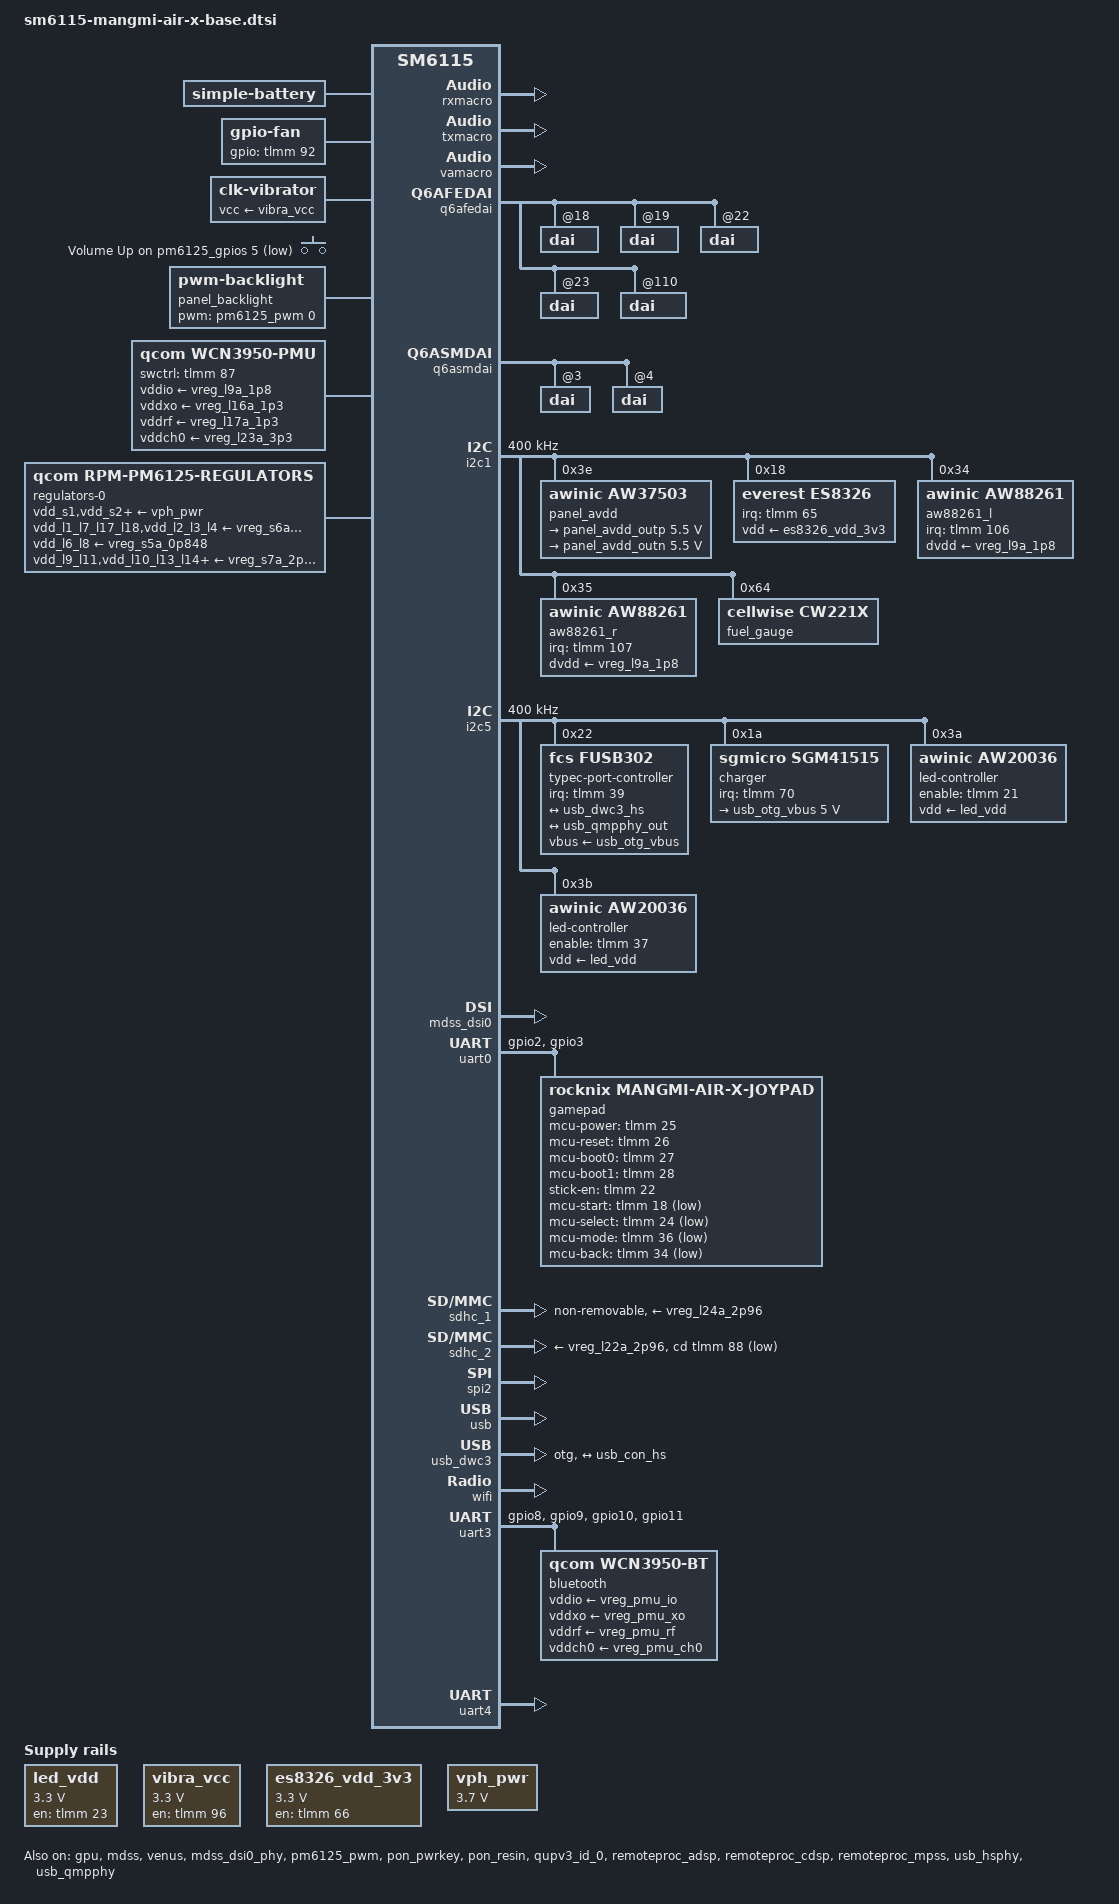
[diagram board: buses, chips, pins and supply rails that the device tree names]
// SPDX-License-Identifier: BSD-3-Clause
/*
 * Copyright (c) 2025, ROCKNIX
 */

/dts-v1/;

#include <dt-bindings/leds/common.h>
#include <dt-bindings/sound/qcom,q6afe.h>
#include <dt-bindings/sound/qcom,q6asm.h>
#include <dt-bindings/usb/pd.h>
#include "sm6115.dtsi"
#include "pm6125.dtsi"

/ {
	chassis-type = "handset";

	aliases {
		mmc0 = &sdhc_2;
		serial0 = &uart4;
		hsuart0 = &uart3;
		hsuart1 = &uart0;
	};

	chosen {
		stdout-path = "serial0:115200n8";
	};

	battery: battery {
		compatible = "simple-battery";
		charge-full-design-microamp-hours = <5000000>;
		voltage-min-design-microvolt = <3400000>;
		voltage-max-design-microvolt = <4350000>;
		constant-charge-current-max-microamp = <3000000>;
		constant-charge-voltage-max-microvolt = <4350000>;
		precharge-current-microamp = <200000>;
		charge-term-current-microamp = <200000>;
	};

	fan: gpio-fan {
		compatible = "gpio-fan";
		gpio-fan,speed-map = <0 0>, <8600 1>;
		gpios = <&tlmm 92 GPIO_ACTIVE_HIGH>;
		#cooling-cells = <2>;
	};

	vibrator {
		compatible = "clk-vibrator";
		clocks = <&gcc GCC_GP1_CLK>;
		vcc-supply = <&vibra_vcc>;
		pinctrl-names = "default";
		pinctrl-0 = <&gpio_clk_pins>;
		vibration-frequency-hz = <10000>;
	};

	led_vdd: regulator-led-vdd {
		compatible = "regulator-fixed";
		regulator-name = "led-vdd";
		regulator-min-microvolt = <3300000>;
		regulator-max-microvolt = <3300000>;
		gpio = <&tlmm 23 GPIO_ACTIVE_HIGH>;
		enable-active-high;
		pinctrl-names = "default";
		pinctrl-0 = <&led_en_default>;
	};

	vibra_vcc: regulator-vibra-vcc {
		compatible = "regulator-fixed";
		regulator-name = "vibra_vcc";
		regulator-min-microvolt = <3300000>;
		regulator-max-microvolt = <3300000>;
		gpio = <&tlmm 96 GPIO_ACTIVE_HIGH>;
		enable-active-high;
		pinctrl-names = "default";
		pinctrl-0 = <&vibra_vcc_default>;
	};

	es8326_vdd_3v3: regulator-es8326-vdd {
		compatible = "regulator-fixed";
		regulator-name = "es8326-vdd-3v3";
		regulator-min-microvolt = <3300000>;
		regulator-max-microvolt = <3300000>;
		gpio = <&tlmm 66 GPIO_ACTIVE_HIGH>;
		enable-active-high;
		regulator-always-on;
		regulator-boot-on;
		pinctrl-names = "default";
		pinctrl-0 = <&es8326_vdd_default>;
	};

	gpio-keys {
		compatible = "gpio-keys";

		pinctrl-names = "default";
		pinctrl-0 = <&vol_up_n>;

		key-volume-up {
			label = "Volume Up";
			linux,code = <KEY_VOLUMEUP>;
			gpios = <&pm6125_gpios 5 GPIO_ACTIVE_LOW>;
			debounce-interval = <15>;
			linux,can-disable;
			wakeup-source;
		};
	};

	vph_pwr: regulator-vph-pwr {
		compatible = "regulator-fixed";
		regulator-name = "vph_pwr";
		regulator-min-microvolt = <3700000>;
		regulator-max-microvolt = <3700000>;

		regulator-always-on;
		regulator-boot-on;
	};

	panel_backlight: backlight {
		compatible = "pwm-backlight";
		pwms = <&pm6125_pwm 0 40000>;

		brightness-levels = <0 204>;
		num-interpolated-steps = <204>;
		max-brightness = <204>;
		default-brightness-level = <204>;
	};

	multi-led-l1 { compatible = "leds-group-multicolor"; color = <LED_COLOR_ID_RGB>; function = "l1"; leds = <&left_red_1>, <&left_green_1>, <&left_blue_1>; };
	multi-led-l2 { compatible = "leds-group-multicolor"; color = <LED_COLOR_ID_RGB>; function = "l2"; leds = <&left_red_2>, <&left_green_2>, <&left_blue_2>; };
	multi-led-l3 { compatible = "leds-group-multicolor"; color = <LED_COLOR_ID_RGB>; function = "l3"; leds = <&left_red_3>, <&left_green_3>, <&left_blue_3>; };
	multi-led-l4 { compatible = "leds-group-multicolor"; color = <LED_COLOR_ID_RGB>; function = "l4"; leds = <&left_red_4>, <&left_green_4>, <&left_blue_4>; };
	multi-led-l5 { compatible = "leds-group-multicolor"; color = <LED_COLOR_ID_RGB>; function = "l5"; leds = <&left_red_5>, <&left_green_5>, <&left_blue_5>; };
	multi-led-l6 { compatible = "leds-group-multicolor"; color = <LED_COLOR_ID_RGB>; function = "l6"; leds = <&left_red_6>, <&left_green_6>, <&left_blue_6>; };
	multi-led-l7 { compatible = "leds-group-multicolor"; color = <LED_COLOR_ID_RGB>; function = "l7"; leds = <&left_red_7>, <&left_green_7>, <&left_blue_7>; };
	multi-led-l8 { compatible = "leds-group-multicolor"; color = <LED_COLOR_ID_RGB>; function = "l8"; leds = <&left_red_8>, <&left_green_8>, <&left_blue_8>; };
	multi-led-l9 { compatible = "leds-group-multicolor"; color = <LED_COLOR_ID_RGB>; function = "l9"; leds = <&left_red_9>, <&left_green_9>, <&left_blue_9>; };

	multi-led-r1 { compatible = "leds-group-multicolor"; color = <LED_COLOR_ID_RGB>; function = "r1"; leds = <&right_red_1>, <&right_green_1>, <&right_blue_1>; };
	multi-led-r2 { compatible = "leds-group-multicolor"; color = <LED_COLOR_ID_RGB>; function = "r2"; leds = <&right_red_2>, <&right_green_2>, <&right_blue_2>; };
	multi-led-r3 { compatible = "leds-group-multicolor"; color = <LED_COLOR_ID_RGB>; function = "r3"; leds = <&right_red_3>, <&right_green_3>, <&right_blue_3>; };
	multi-led-r4 { compatible = "leds-group-multicolor"; color = <LED_COLOR_ID_RGB>; function = "r4"; leds = <&right_red_4>, <&right_green_4>, <&right_blue_4>; };
	multi-led-r5 { compatible = "leds-group-multicolor"; color = <LED_COLOR_ID_RGB>; function = "r5"; leds = <&right_red_5>, <&right_green_5>, <&right_blue_5>; };
	multi-led-r6 { compatible = "leds-group-multicolor"; color = <LED_COLOR_ID_RGB>; function = "r6"; leds = <&right_red_6>, <&right_green_6>, <&right_blue_6>; };
	multi-led-r7 { compatible = "leds-group-multicolor"; color = <LED_COLOR_ID_RGB>; function = "r7"; leds = <&right_red_7>, <&right_green_7>, <&right_blue_7>; };
	multi-led-r8 { compatible = "leds-group-multicolor"; color = <LED_COLOR_ID_RGB>; function = "r8"; leds = <&right_red_8>, <&right_green_8>, <&right_blue_8>; };
	multi-led-r9 { compatible = "leds-group-multicolor"; color = <LED_COLOR_ID_RGB>; function = "r9"; leds = <&right_red_9>, <&right_green_9>, <&right_blue_9>; };

	wcn3950-pmu {
		compatible = "qcom,wcn3950-pmu";

		pinctrl-0 = <&sw_ctrl_default>;
		pinctrl-names = "default";

		vddio-supply = <&vreg_l9a_1p8>;
		vddxo-supply = <&vreg_l16a_1p3>;
		vddrf-supply = <&vreg_l17a_1p3>;
		vddch0-supply = <&vreg_l23a_3p3>;

		swctrl-gpios = <&tlmm 87 GPIO_ACTIVE_HIGH>;

		regulators {
			vreg_pmu_io: ldo0 {
				regulator-name = "vreg_pmu_io";
			};

			vreg_pmu_xo: ldo1 {
				regulator-name = "vreg_pmu_xo";
			};

			vreg_pmu_rf: ldo2 {
				regulator-name = "vreg_pmu_rf";
			};

			vreg_pmu_ch0: ldo3 {
				regulator-name = "vreg_pmu_ch0";
			};
		};
	};

	sound {
		compatible = "qcom,qrb4210-rb2-sndcard";
		model = "MangmiAirX";

		widgets = "Speaker", "SPK_L Speaker",
			  "Speaker", "SPK_R Speaker";

		pin-switches = "SPK_L Speaker", "SPK_R Speaker";

		audio-routing = "SPK_L Speaker", "SPK_L DAC Output",
				"SPK_R Speaker", "SPK_R DAC Output",
				"Headphone Jack", "HPOL",
				"Headphone Jack", "HPOR";

		pinctrl-names = "default";
		pinctrl-0 = <&lpi_qua_mi2s_active>, <&lpi_i2s2_active>,
			    <&lpi_dmic23_active>;

		mm1-dai-link {
			link-name = "MultiMedia1";
			cpu {
				sound-dai = <&q6asmdai MSM_FRONTEND_DAI_MULTIMEDIA1>;
			};
		};

		mm2-dai-link {
			link-name = "MultiMedia2";
			cpu {
				sound-dai = <&q6asmdai MSM_FRONTEND_DAI_MULTIMEDIA2>;
			};
		};

		mm3-dai-link {
			link-name = "MultiMedia3";
			cpu {
				sound-dai = <&q6asmdai MSM_FRONTEND_DAI_MULTIMEDIA3>;
			};
		};

		sec-mi2s-playback-dai-link {
			link-name = "Secondary MI2S Playback";
			cpu {
				sound-dai = <&q6afedai SECONDARY_MI2S_RX>;
			};
			platform {
				sound-dai = <&q6routing>;
			};
			codec {
				sound-dai = <&aw88261_l>, <&aw88261_r>;
			};
		};

		quat-mi2s-playback-dai-link {
			link-name = "Quaternary MI2S Playback";
			cpu {
				sound-dai = <&q6afedai QUATERNARY_MI2S_RX>;
			};
			platform {
				sound-dai = <&q6routing>;
			};
			codec {
				sound-dai = <&es8326>;
			};
		};

		quat-mi2s-capture-dai-link {
			link-name = "Quaternary MI2S Capture";
			cpu {
				sound-dai = <&q6afedai QUATERNARY_MI2S_TX>;
			};
			platform {
				sound-dai = <&q6routing>;
			};
			codec {
				sound-dai = <&es8326>;
			};
		};

		mm4-capture-dai-link {
			link-name = "MultiMedia4 Capture";
			cpu {
				sound-dai = <&q6asmdai MSM_FRONTEND_DAI_MULTIMEDIA4>;
			};
		};

		mm5-capture-dai-link {
			link-name = "MultiMedia5 Capture";
			cpu {
				sound-dai = <&q6asmdai MSM_FRONTEND_DAI_MULTIMEDIA5>;
			};
		};

		va-codec-dma-dai-link {
			link-name = "VA_CODEC_DMA_TX_0";
			cpu {
				sound-dai = <&q6afedai VA_CODEC_DMA_TX_0>;
			};
			platform {
				sound-dai = <&q6routing>;
			};
			codec {
				sound-dai = <&vamacro 0>;
			};
		};
	};
};

&soc {
	rxmacro: codec@a600000 {
		compatible = "qcom,sm6115-lpass-rx-macro";
		reg = <0x0 0x0a600000 0x0 0x1000>;

		clocks = <&q6afecc LPASS_CLK_ID_RX_CORE_MCLK     LPASS_CLK_ATTRIBUTE_COUPLE_NO>,
			 <&q6afecc LPASS_CLK_ID_RX_CORE_NPL_MCLK LPASS_CLK_ATTRIBUTE_COUPLE_NO>,
			 <&q6afecc LPASS_HW_DCODEC_VOTE          LPASS_CLK_ATTRIBUTE_COUPLE_NO>,
			 <&vamacro>;
		clock-names = "mclk", "npl", "dcodec", "fsgen";

		assigned-clocks = <&q6afecc LPASS_CLK_ID_RX_CORE_MCLK     LPASS_CLK_ATTRIBUTE_COUPLE_NO>,
				  <&q6afecc LPASS_CLK_ID_RX_CORE_NPL_MCLK LPASS_CLK_ATTRIBUTE_COUPLE_NO>;
		assigned-clock-rates = <22579200>, <22579200>;

		#clock-cells = <0>;
		clock-output-names = "mclk";
		#sound-dai-cells = <1>;
	};

	txmacro: codec@a620000 {
		compatible = "qcom,sm6115-lpass-tx-macro";
		reg = <0x0 0x0a620000 0x0 0x1000>;

		clocks = <&q6afecc LPASS_CLK_ID_TX_CORE_MCLK     LPASS_CLK_ATTRIBUTE_COUPLE_NO>,
			 <&q6afecc LPASS_CLK_ID_TX_CORE_NPL_MCLK LPASS_CLK_ATTRIBUTE_COUPLE_NO>,
			 <&q6afecc LPASS_HW_DCODEC_VOTE          LPASS_CLK_ATTRIBUTE_COUPLE_NO>,
			 <&vamacro>;
		clock-names = "mclk", "npl", "dcodec", "fsgen";

		assigned-clocks = <&q6afecc LPASS_CLK_ID_TX_CORE_MCLK     LPASS_CLK_ATTRIBUTE_COUPLE_NO>,
				  <&q6afecc LPASS_CLK_ID_TX_CORE_NPL_MCLK LPASS_CLK_ATTRIBUTE_COUPLE_NO>;
		assigned-clock-rates = <19200000>, <19200000>;

		qcom,dmic-sample-rate = <2400000>;

		#clock-cells = <0>;
		clock-output-names = "mclk";
		#sound-dai-cells = <1>;
	};

	lpass_audiocc: clock-controller@a6a9000 {
		compatible = "qcom,sm6115-lpassaudiocc";
		reg = <0x0 0x0a6a9000 0x0 0x1000>;
		#reset-cells = <1>;
	};

	vamacro: codec@a730000 {
		compatible = "qcom,sm6115-lpass-va-macro";
		reg = <0x0 0x0a730000 0x0 0x1000>;

		clocks = <&q6afecc LPASS_CLK_ID_TX_CORE_MCLK     LPASS_CLK_ATTRIBUTE_COUPLE_NO>,
			 <&q6afecc LPASS_HW_DCODEC_VOTE          LPASS_CLK_ATTRIBUTE_COUPLE_NO>,
			 <&q6afecc LPASS_CLK_ID_TX_CORE_NPL_MCLK LPASS_CLK_ATTRIBUTE_COUPLE_NO>;
		clock-names = "mclk", "dcodec", "npl";

		assigned-clocks = <&q6afecc LPASS_CLK_ID_TX_CORE_MCLK     LPASS_CLK_ATTRIBUTE_COUPLE_NO>,
				  <&q6afecc LPASS_CLK_ID_TX_CORE_NPL_MCLK LPASS_CLK_ATTRIBUTE_COUPLE_NO>;
		assigned-clock-rates = <19200000>, <19200000>;

		qcom,dmic-sample-rate = <2400000>;

		#clock-cells = <0>;
		clock-output-names = "fsgen";
		#sound-dai-cells = <1>;
	};

	lpasscc: clock-controller@a7e0000 {
		compatible = "qcom,sm6115-lpasscc";
		reg = <0x0 0x0a7e0000 0x0 0x12000>;
		#reset-cells = <1>;
	};
};

&q6afedai {
	dai@18 {
		reg = <SECONDARY_MI2S_RX>;
		qcom,sd-lines = <0>;
	};

	dai@19 {
		reg = <SECONDARY_MI2S_TX>;
		qcom,sd-lines = <1>;
	};

	dai@22 {
		reg = <QUATERNARY_MI2S_RX>;
		qcom,sd-lines = <0>;
	};

	dai@23 {
		reg = <QUATERNARY_MI2S_TX>;
		qcom,sd-lines = <1>;
	};

	dai@110 {
		reg = <VA_CODEC_DMA_TX_0>;
	};
};

&q6asmdai {
	dai@3 {
		reg = <MSM_FRONTEND_DAI_MULTIMEDIA4>;
	};

	dai@4 {
		reg = <MSM_FRONTEND_DAI_MULTIMEDIA5>;
	};
};

&i2c1 {
	status = "okay";
	clock-frequency = <400000>;

	panel_avdd: regulator@3e {
		reg = <0x3e>;
		compatible = "awinic,aw37503"; /* SGM3804 is a clone */
		status = "okay";

		panel_avdd_outp: outp {
			regulator-name = "panel-avdd-outp";
			regulator-min-microvolt = <5500000>;
			regulator-max-microvolt = <5500000>;
			regulator-active-discharge = <1>;
			enable-gpios = <&tlmm 44 GPIO_ACTIVE_HIGH>;
			vin-supply = <&vph_pwr>;
		};

		panel_avdd_outn: outn {
			regulator-name = "panel-avdd-outn";
			regulator-min-microvolt = <5500000>;
			regulator-max-microvolt = <5500000>;
			regulator-active-discharge = <1>;
			enable-gpios = <&tlmm 45 GPIO_ACTIVE_HIGH>;
			vin-supply = <&vph_pwr>;
		};
	};

	es8326: codec@18 {
		compatible = "everest,es8326";
		reg = <0x18>;
		clocks = <&q6afecc LPASS_CLK_ID_MCLK_1 LPASS_CLK_ATTRIBUTE_COUPLE_NO>;
		clock-names = "mclk";
		assigned-clocks = <&q6afecc LPASS_CLK_ID_MCLK_1 LPASS_CLK_ATTRIBUTE_COUPLE_NO>;
		assigned-clock-rates = <12288000>;
		interrupts-extended = <&tlmm 65 IRQ_TYPE_EDGE_FALLING>;
		vdd-supply = <&es8326_vdd_3v3>;
		everest,jack-detect-inverted;

		pinctrl-names = "default";
		pinctrl-0 = <&es8326_irq_default &lpi_ext_mclk0_b_active>;
		#sound-dai-cells = <0>;
		status = "okay";
	};

	aw88261_l: audio-codec@34 {
		compatible = "awinic,aw88261";
		reg = <0x34>;

		dvdd-supply = <&vreg_l9a_1p8>;

		interrupt-parent = <&tlmm>;
		interrupts = <106 IRQ_TYPE_LEVEL_LOW>;

		pinctrl-names = "default";
		pinctrl-0 = <&aw88261_left_irq_default>;

		awinic,audio-channel = <0>;
		awinic,sync-flag;
		sound-name-prefix = "SPK_L";
		firmware-name = "aw88261_acf.bin";

		#sound-dai-cells = <0>;
	};

	aw88261_r: audio-codec@35 {
		compatible = "awinic,aw88261";
		reg = <0x35>;

		dvdd-supply = <&vreg_l9a_1p8>;

		interrupt-parent = <&tlmm>;
		interrupts = <107 IRQ_TYPE_LEVEL_LOW>;

		pinctrl-names = "default";
		pinctrl-0 = <&aw88261_right_irq_default>;

		awinic,audio-channel = <1>;
		awinic,sync-flag;
		sound-name-prefix = "SPK_R";
		firmware-name = "aw88261_acf.bin";

		#sound-dai-cells = <0>;
	};

	fuel_gauge: fuel-gauge@64 {
		compatible = "cellwise,cw221x";
		reg = <0x64>;
		monitored-battery = <&battery>;
		#thermal-sensor-cells = <0>;
		cellwise,sense-resistor-micro-ohms = <10000>;
		cellwise,monitor-interval-ms = <5000>;
		cellwise,battery-profile = /bits/ 8 <
			0x5a 0x00 0x00 0x00 0x00 0x00 0x00 0x00
			0xad 0xbd 0xb3 0xba 0xa6 0xa2 0xd1 0xb3
			0x9e 0xff 0xe5 0xb7 0x8b 0x75 0x66 0x5e
			0x5c 0x5c 0x5c 0xa8 0x7c 0xdc 0x03 0xcf
			0xc8 0xcf 0xd0 0xd1 0xce 0xcd 0xca 0xcc
			0xc7 0xca 0xc1 0xa5 0x95 0x8a 0x81 0x77
			0x6b 0x68 0x7d 0x90 0x8e 0x84 0x8a 0x63
			0x20 0x00 0xab 0x10 0x00 0xb0 0x4d 0x00
			0x00 0x00 0x64 0x1f 0xd3 0x37 0x00 0x00
			0x00 0x00 0x00 0x00 0x00 0x00 0x00 0x18>;
	};
};

&i2c5 {
	status = "okay";
	clock-frequency = <400000>;

	typec-port-controller@22 {
		compatible = "fcs,fusb302";
		reg = <0x22>;

		interrupts-extended = <&tlmm 39 IRQ_TYPE_LEVEL_LOW>;
		vbus-supply = <&usb_otg_vbus>;

		pinctrl-names = "default";
		pinctrl-0 = <&tcpc_irq_default>;

		connector {
			compatible = "usb-c-connector";
			label = "USB-C";
			pd-revision = /bits/ 8 <0x3 0x0 0x1 0x20>;
			self-powered;
			power-role = "dual";
			data-role = "dual";
			try-power-role = "sink";
			op-sink-microwatt = <10000000>;
			sink-pdos = <PDO_FIXED(5000, 3000, PDO_FIXED_DUAL_ROLE |
						      PDO_FIXED_USB_COMM |
						      PDO_FIXED_DATA_SWAP)
				PDO_PPS_APDO(4000, 11000, 3000)>;

			source-pdos = <PDO_FIXED(5000, 1200,
						 PDO_FIXED_DUAL_ROLE |
						 PDO_FIXED_DATA_SWAP |
						 PDO_FIXED_USB_COMM)>;

			pd-source-inputs = <0x04>;
			pd-battery-info = <0x01>;

			ports {
				#address-cells = <1>;
				#size-cells = <0>;

				port@0 {
					reg = <0>;
					usb_con_hs: endpoint {
						remote-endpoint = <&usb_dwc3_hs>;
					};
				};

				port@1 {
					reg = <1>;
					usb_con_ss: endpoint {
						remote-endpoint = <&usb_qmpphy_out>;
					};
				};
			};
		};
	};

	charger@1a {
		compatible = "sgmicro,sgm41515"; /* BQ25601D clone */
		reg = <0x1a>;
		monitored-battery = <&battery>;
		interrupts-extended = <&tlmm 70 IRQ_TYPE_EDGE_FALLING>;
		pinctrl-names = "default";
		pinctrl-0 = <&chg_int_default>, <&chg_en_default>;
		wakeup-source;

		input-voltage-limit-microvolt = <4500000>;

		status = "okay";

		usb_otg_vbus: usb-otg-vbus {
			regulator-name = "usb-otg-vbus";
			regulator-min-microvolt = <5000000>;
			regulator-max-microvolt = <5000000>;
		};
	};

	led-controller@3a {
		compatible = "awinic,aw20036";
		vdd-supply = <&led_vdd>;
		reg = <0x3a>;
		enable-gpios = <&tlmm 21 GPIO_ACTIVE_HIGH>;
		#address-cells = <1>;
		#size-cells = <0>;
		pinctrl-names = "default", "sleep";
		pinctrl-0 = <&rgbl_activate>;
		pinctrl-1 = <&rgbl_suspend>;
		status = "okay";

		left_blue_1: led@0 { reg = <0x0>; color = <LED_COLOR_ID_BLUE>; label = "left_blue_1"; led-max-microamp = <3400>; };
		left_green_1: led@1 { reg = <0x1>; color = <LED_COLOR_ID_GREEN>; label = "left_green_1"; led-max-microamp = <3400>; };
		left_red_1: led@2 { reg = <0x2>; color = <LED_COLOR_ID_RED>; label = "left_red_1"; led-max-microamp = <3400>; };

		left_blue_2: led@3 { reg = <0x3>; color = <LED_COLOR_ID_BLUE>; label = "left_blue_2"; led-max-microamp = <3400>; };
		left_green_2: led@4 { reg = <0x4>; color = <LED_COLOR_ID_GREEN>; label = "left_green_2"; led-max-microamp = <3400>; };
		left_red_2: led@5 { reg = <0x5>; color = <LED_COLOR_ID_RED>; label = "left_red_2"; led-max-microamp = <3400>; };

		left_blue_3: led@6 { reg = <0x6>; color = <LED_COLOR_ID_BLUE>; label = "left_blue_3"; led-max-microamp = <3400>; };
		left_green_3: led@7 { reg = <0x7>; color = <LED_COLOR_ID_GREEN>; label = "left_green_3"; led-max-microamp = <3400>; };
		left_red_3: led@8 { reg = <0x8>; color = <LED_COLOR_ID_RED>; label = "left_red_3"; led-max-microamp = <3400>; };

		left_blue_4: led@9 { reg = <0x9>; color = <LED_COLOR_ID_BLUE>; label = "left_blue_4"; led-max-microamp = <3400>; };
		left_green_4: led@a { reg = <0xa>; color = <LED_COLOR_ID_GREEN>; label = "left_green_4"; led-max-microamp = <3400>; };
		left_red_4: led@b { reg = <0xb>; color = <LED_COLOR_ID_RED>; label = "left_red_4"; led-max-microamp = <3400>; };

		left_blue_5: led@c { reg = <0xc>; color = <LED_COLOR_ID_BLUE>; label = "left_blue_5"; led-max-microamp = <3400>; };
		left_green_5: led@d { reg = <0xd>; color = <LED_COLOR_ID_GREEN>; label = "left_green_5"; led-max-microamp = <3400>; };
		left_red_5: led@e { reg = <0xe>; color = <LED_COLOR_ID_RED>; label = "left_red_5"; led-max-microamp = <3400>; };

		left_blue_6: led@f { reg = <0xf>; color = <LED_COLOR_ID_BLUE>; label = "left_blue_6"; led-max-microamp = <3400>; };
		left_green_6: led@10 { reg = <0x10>; color = <LED_COLOR_ID_GREEN>; label = "left_green_6"; led-max-microamp = <3400>; };
		left_red_6: led@11 { reg = <0x11>; color = <LED_COLOR_ID_RED>; label = "left_red_6"; led-max-microamp = <3400>; };

		left_blue_7: led@12 { reg = <0x12>; color = <LED_COLOR_ID_BLUE>; label = "left_blue_7"; led-max-microamp = <3400>; };
		left_green_7: led@13 { reg = <0x13>; color = <LED_COLOR_ID_GREEN>; label = "left_green_7"; led-max-microamp = <3400>; };
		left_red_7: led@14 { reg = <0x14>; color = <LED_COLOR_ID_RED>; label = "left_red_7"; led-max-microamp = <3400>; };

		left_blue_8: led@15 { reg = <0x15>; color = <LED_COLOR_ID_BLUE>; label = "left_blue_8"; led-max-microamp = <3400>; };
		left_green_8: led@16 { reg = <0x16>; color = <LED_COLOR_ID_GREEN>; label = "left_green_8"; led-max-microamp = <3400>; };
		left_red_8: led@17 { reg = <0x17>; color = <LED_COLOR_ID_RED>; label = "left_red_8"; led-max-microamp = <3400>; };

		left_blue_9: led@18 { reg = <0x18>; color = <LED_COLOR_ID_BLUE>; label = "left_blue_9"; led-max-microamp = <3400>; };
		left_green_9: led@19 { reg = <0x19>; color = <LED_COLOR_ID_GREEN>; label = "left_green_9"; led-max-microamp = <3400>; };
		left_red_9: led@1a { reg = <0x1a>; color = <LED_COLOR_ID_RED>; label = "left_red_9"; led-max-microamp = <3400>; };
	};

	led-controller@3b {
		compatible = "awinic,aw20036";
		vdd-supply = <&led_vdd>;
		reg = <0x3b>;
		enable-gpios = <&tlmm 37 GPIO_ACTIVE_HIGH>;
		#address-cells = <1>;
		#size-cells = <0>;
		pinctrl-names = "default", "sleep";
		pinctrl-0 = <&rgbr_activate>;
		pinctrl-1 = <&rgbr_suspend>;
		status = "okay";

		right_blue_1: led@0 { reg = <0x0>; color = <LED_COLOR_ID_BLUE>; label = "right_blue_1"; led-max-microamp = <3400>; };
		right_green_1: led@1 { reg = <0x1>; color = <LED_COLOR_ID_GREEN>; label = "right_green_1"; led-max-microamp = <3400>; };
		right_red_1: led@2 { reg = <0x2>; color = <LED_COLOR_ID_RED>; label = "right_red_1"; led-max-microamp = <3400>; };

		right_blue_2: led@3 { reg = <0x3>; color = <LED_COLOR_ID_BLUE>; label = "right_blue_2"; led-max-microamp = <3400>; };
		right_green_2: led@4 { reg = <0x4>; color = <LED_COLOR_ID_GREEN>; label = "right_green_2"; led-max-microamp = <3400>; };
		right_red_2: led@5 { reg = <0x5>; color = <LED_COLOR_ID_RED>; label = "right_red_2"; led-max-microamp = <3400>; };

		right_blue_3: led@6 { reg = <0x6>; color = <LED_COLOR_ID_BLUE>; label = "right_blue_3"; led-max-microamp = <3400>; };
		right_green_3: led@7 { reg = <0x7>; color = <LED_COLOR_ID_GREEN>; label = "right_green_3"; led-max-microamp = <3400>; };
		right_red_3: led@8 { reg = <0x8>; color = <LED_COLOR_ID_RED>; label = "right_red_3"; led-max-microamp = <3400>; };

		right_blue_4: led@9 { reg = <0x9>; color = <LED_COLOR_ID_BLUE>; label = "right_blue_4"; led-max-microamp = <3400>; };
		right_green_4: led@a { reg = <0xa>; color = <LED_COLOR_ID_GREEN>; label = "right_green_4"; led-max-microamp = <3400>; };
		right_red_4: led@b { reg = <0xb>; color = <LED_COLOR_ID_RED>; label = "right_red_4"; led-max-microamp = <3400>; };

		right_blue_5: led@c { reg = <0xc>; color = <LED_COLOR_ID_BLUE>; label = "right_blue_5"; led-max-microamp = <3400>; };
		right_green_5: led@d { reg = <0xd>; color = <LED_COLOR_ID_GREEN>; label = "right_green_5"; led-max-microamp = <3400>; };
		right_red_5: led@e { reg = <0xe>; color = <LED_COLOR_ID_RED>; label = "right_red_5"; led-max-microamp = <3400>; };

		right_blue_6: led@f { reg = <0xf>; color = <LED_COLOR_ID_BLUE>; label = "right_blue_6"; led-max-microamp = <3400>; };
		right_green_6: led@10 { reg = <0x10>; color = <LED_COLOR_ID_GREEN>; label = "right_green_6"; led-max-microamp = <3400>; };
		right_red_6: led@11 { reg = <0x11>; color = <LED_COLOR_ID_RED>; label = "right_red_6"; led-max-microamp = <3400>; };

		right_blue_7: led@12 { reg = <0x12>; color = <LED_COLOR_ID_BLUE>; label = "right_blue_7"; led-max-microamp = <3400>; };
		right_green_7: led@13 { reg = <0x13>; color = <LED_COLOR_ID_GREEN>; label = "right_green_7"; led-max-microamp = <3400>; };
		right_red_7: led@14 { reg = <0x14>; color = <LED_COLOR_ID_RED>; label = "right_red_7"; led-max-microamp = <3400>; };

		right_blue_8: led@15 { reg = <0x15>; color = <LED_COLOR_ID_BLUE>; label = "right_blue_8"; led-max-microamp = <3400>; };
		right_green_8: led@16 { reg = <0x16>; color = <LED_COLOR_ID_GREEN>; label = "right_green_8"; led-max-microamp = <3400>; };
		right_red_8: led@17 { reg = <0x17>; color = <LED_COLOR_ID_RED>; label = "right_red_8"; led-max-microamp = <3400>; };

		right_blue_9: led@18 { reg = <0x18>; color = <LED_COLOR_ID_BLUE>; label = "right_blue_9"; led-max-microamp = <3400>; };
		right_green_9: led@19 { reg = <0x19>; color = <LED_COLOR_ID_GREEN>; label = "right_green_9"; led-max-microamp = <3400>; };
		right_red_9: led@1a { reg = <0x1a>; color = <LED_COLOR_ID_RED>; label = "right_red_9"; led-max-microamp = <3400>; };
	};
};

&gpi_dma0 {
	status = "okay";
};

&gpu {
	status = "okay";

	interconnects = <&bimc MASTER_GRAPHICS_3D RPM_ACTIVE_TAG
			 &bimc SLAVE_EBI_CH0 RPM_ACTIVE_TAG>;
	interconnect-names = "gfx-mem";

	zap-shader {
		firmware-name = "qcom/qrb4210/a610_zap.mbn";
	};
};

&gpu_opp_table {
	opp-320000000 {
		opp-peak-kBps = < 2188000>;
	};
	opp-465000000 {
		opp-peak-kBps = < 3072000>;
	};
	opp-600000000 {
		opp-peak-kBps = < 4068000>;
	};
	opp-745000000 {
		opp-peak-kBps = < 6220000>;
	};
	opp-820000000 {
		opp-peak-kBps = < 6220000>;
	};
	opp-900000000 {
		opp-peak-kBps = < 7216000>;
	};
	opp-950000000 {
		opp-peak-kBps = < 7216000>;
	};
	opp-980000000 {
		opp-peak-kBps = < 7216000>;
	};
	opp-1050000000 {
		opp-peak-kBps = < 8368000>;
	};
};

&cpu_bwmon_opp_table {
	opp-10 { opp-peak-kBps = <8368000>; };
};

&mdss {
	status = "okay";

	interconnects = <&mmrt_virt MASTER_MDP_PORT0 RPM_ACTIVE_TAG
			 &bimc SLAVE_EBI_CH0 RPM_ACTIVE_TAG>,
			<&bimc MASTER_AMPSS_M0 RPM_ACTIVE_TAG
			 &config_noc SLAVE_DISPLAY_CFG RPM_ACTIVE_TAG>;
};

&venus {
	firmware-name = "qcom/venus-6.0/venus.mbn";
	status = "okay";
};

&mdss_dsi0 {
	vdda-supply = <&vreg_l18a_1p232>;
	status = "okay";

	panel: panel@0 {
		reg = <0>;

		vdd1-supply = <&vreg_l9a_1p8>;
		vsp-supply = <&panel_avdd_outp>;
		vsn-supply = <&panel_avdd_outn>;
		backlight = <&panel_backlight>;

		enable-gpios = <&tlmm 97 GPIO_ACTIVE_HIGH>;
		reset-gpios = <&tlmm 82 GPIO_ACTIVE_LOW>;

		pinctrl-names = "default", "sleep";
		pinctrl-0 = <&mdss_dsi_active>, <&mdp_vsync_active>;
		pinctrl-1 = <&mdss_dsi_suspend>, <&mdp_vsync_suspend>;

		rotation = <270>;
		status = "okay";

		port {
			panel_in: endpoint {
				remote-endpoint = <&mdss_dsi0_out>;
			};
		};
	};
};

&mdss_dsi0_out {
	data-lanes = <0 1 2 3>;
	remote-endpoint = <&panel_in>;
};

&mdss_dsi0_phy {
	status = "okay";
};

&pm6125_gpios {
	vol_up_n: vol-up-n-state {
		pins = "gpio5";
		function = "normal";
		power-source = <0>;
		bias-pull-up;
		input-enable;
	};
};

&pm6125_pwm {
	status = "okay";
};

&pon_pwrkey {
	status = "okay";
};

&pon_resin {
	linux,code = <KEY_VOLUMEDOWN>;
	status = "okay";
};

&qupv3_id_0 {
	status = "okay";

	uart0: serial@4a80000 {
		compatible = "qcom,geni-uart";
		reg = <0x0 0x04a80000 0x0 0x4000>;
		interrupts-extended = <&intc GIC_SPI 327 IRQ_TYPE_LEVEL_HIGH>;
		clocks = <&gcc GCC_QUPV3_WRAP0_S0_CLK>;
		clock-names = "se";
		power-domains = <&rpmpd SM6115_VDDCX>;
		operating-points-v2 = <&qup_opp_table>;
		interconnects = <&clk_virt MASTER_QUP_CORE_0 RPM_ALWAYS_TAG
				 &clk_virt SLAVE_QUP_CORE_0 RPM_ALWAYS_TAG>,
				<&bimc MASTER_AMPSS_M0 RPM_ALWAYS_TAG
				 &config_noc SLAVE_QUP_0 RPM_ALWAYS_TAG>;
		interconnect-names = "qup-core", "qup-config";
		pinctrl-0 = <&qup_uart0_active>;
		pinctrl-1 = <&qup_uart0_sleep>;
		pinctrl-names = "default", "sleep";
	};
};

&remoteproc_adsp {
	firmware-name = "qcom/qrb4210/adsp.mbn";
	status = "okay";
};

&remoteproc_cdsp {
	firmware-name = "qcom/qrb4210/cdsp.mbn";
	status = "okay";
};

&remoteproc_mpss {
	firmware-name = "qcom/qrb4210/modem.mbn";
	status = "okay";
};

&rpm_requests {
	regulators-0 {
		compatible = "qcom,rpm-pm6125-regulators";

		vdd_s1-supply = <&vph_pwr>;
		vdd_s2-supply = <&vph_pwr>;
		vdd_s3-supply = <&vph_pwr>;
		vdd_s4-supply = <&vph_pwr>;
		vdd_s5-supply = <&vph_pwr>;
		vdd_s6-supply = <&vph_pwr>;
		vdd_s7-supply = <&vph_pwr>;
		vdd_s8-supply = <&vph_pwr>;

		vdd_l1_l7_l17_l18-supply = <&vreg_s6a_1p352>;
		vdd_l2_l3_l4-supply = <&vreg_s6a_1p352>;
		vdd_l5_l15_l19_l20_l21_l22-supply = <&vph_pwr>;
		vdd_l6_l8-supply = <&vreg_s5a_0p848>;
		vdd_l9_l11-supply = <&vreg_s7a_2p04>;
		vdd_l10_l13_l14-supply = <&vreg_s7a_2p04>;
		vdd_l12_l16-supply = <&vreg_s7a_2p04>;
		vdd_l23_l24-supply = <&vph_pwr>;

		vreg_s5a_0p848: s5 {
			regulator-min-microvolt = <920000>;
			regulator-max-microvolt = <1128000>;
		};

		vreg_s6a_1p352: s6 {
			regulator-min-microvolt = <304000>;
			regulator-max-microvolt = <1456000>;
		};

		vreg_s7a_2p04: s7 {
			regulator-min-microvolt = <1280000>;
			regulator-max-microvolt = <2040000>;
		};

		vreg_s8a_1p064: s8 {
			regulator-min-microvolt = <1064000>;
			regulator-max-microvolt = <1304000>;
		};

		vreg_l1a_1p0: l1 {
			regulator-min-microvolt = <952000>;
			regulator-max-microvolt = <1152000>;
		};

		vreg_l4a_0p9: l4 {
			regulator-min-microvolt = <488000>;
			regulator-max-microvolt = <1000000>;
		};

		vreg_l5a_2p96: l5 {
			regulator-min-microvolt = <1648000>;
			regulator-max-microvolt = <2960000>;
			regulator-allow-set-load;
		};

		vreg_l6a_0p6: l6 {
			regulator-min-microvolt = <576000>;
			regulator-max-microvolt = <656000>;
		};

		vreg_l7a_1p256: l7 {
			regulator-min-microvolt = <1200000>;
			regulator-max-microvolt = <1200000>;
		};

		vreg_l8a_0p664: l8 {
			regulator-min-microvolt = <400000>;
			regulator-max-microvolt = <640000>;
		};

		vreg_l9a_1p8: l9 {
			regulator-min-microvolt = <1800000>;
			regulator-max-microvolt = <1800000>;
			regulator-allow-set-load;
			regulator-always-on;
			regulator-boot-on;
		};

		vreg_l10a_1p8: l10 {
			regulator-min-microvolt = <1704000>;
			regulator-max-microvolt = <1904000>;
		};

		vreg_l11a_1p8: l11 {
			regulator-min-microvolt = <1704000>;
			regulator-max-microvolt = <1952000>;
			regulator-allow-set-load;
		};

		vreg_l12a_1p8: l12 {
			regulator-min-microvolt = <1624000>;
			regulator-max-microvolt = <1984000>;
		};

		vreg_l13a_1p8: l13 {
			regulator-min-microvolt = <1504000>;
			regulator-max-microvolt = <1952000>;
		};

		vreg_l14a_1p8: l14 {
			regulator-min-microvolt = <1704000>;
			regulator-max-microvolt = <1904000>;
		};

		vreg_l15a_3p128: l15 {
			regulator-min-microvolt = <2920000>;
			regulator-max-microvolt = <3232000>;
		};

		vreg_l16a_1p3: l16 {
			regulator-min-microvolt = <1704000>;
			regulator-max-microvolt = <1904000>;
			regulator-allow-set-load;
		};

		vreg_l17a_1p3: l17 {
			regulator-min-microvolt = <1152000>;
			regulator-max-microvolt = <1384000>;
			regulator-allow-set-load;
		};

		vreg_l18a_1p232: l18 {
			regulator-min-microvolt = <1104000>;
			regulator-max-microvolt = <1312000>;
		};

		vreg_l19a_1p8: l19 {
			regulator-min-microvolt = <1624000>;
			regulator-max-microvolt = <3304000>;
		};

		vreg_l20a_1p8: l20 {
			regulator-min-microvolt = <1624000>;
			regulator-max-microvolt = <3304000>;
		};

		vreg_l21a_2p704: l21 {
			regulator-min-microvolt = <2400000>;
			regulator-max-microvolt = <3600000>;
		};

		vreg_l22a_2p96: l22 {
			regulator-min-microvolt = <2952000>;
			regulator-max-microvolt = <2960000>;
			regulator-system-load = <100000>;
			regulator-allow-set-load;
		};

		vreg_l23a_3p3: l23 {
			regulator-min-microvolt = <3312000>;
			regulator-max-microvolt = <3312000>;
			regulator-allow-set-load;
		};

		vreg_l24a_2p96: l24 {
			regulator-min-microvolt = <2704000>;
			regulator-max-microvolt = <3600000>;
			regulator-system-load = <100000>;
			regulator-allow-set-load;
		};
	};
};

&sdc2_state_off {
	cd-pins {
		pins = "gpio88";
		function = "gpio";
		drive-strength = <2>;
		bias-disable;
	};
};

&sdc2_state_on {
	cd-pins {
		pins = "gpio88";
		function = "gpio";
		drive-strength = <2>;
		bias-pull-up;
	};
};

&sdhc_1 {
        vmmc-supply = <&vreg_l24a_2p96>;
        vqmmc-supply = <&vreg_l11a_1p8>;

        non-removable;
        supports-cqe;
        cap-mmc-hw-reset;
        mmc-ddr-1_8v;
        mmc-hs200-1_8v;
        mmc-hs400-1_8v;
        mmc-hs400-enhanced-strobe;

        status = "okay";
};

&sdhc_2 {
	cd-gpios = <&tlmm 88 GPIO_ACTIVE_LOW>;
	pinctrl-names = "default", "sleep";
	pinctrl-0 = <&sdc2_state_on>;
	pinctrl-1 = <&sdc2_state_off>;
	vmmc-supply = <&vreg_l22a_2p96>;
	vqmmc-supply = <&vreg_l5a_2p96>;
	no-sdio;
	no-mmc;

	sd-uhs-sdr12;
	sd-uhs-sdr25;
	sd-uhs-sdr50;
	sd-uhs-sdr104;
	sd-uhs-ddr50;

	status = "okay";
};

&sleep_clk {
	clock-frequency = <32764>;
};

&lpass_tlmm {

	lpi_i2s2_active: lpi-i2s2-active-state {
		sck-pins {
			pins = "gpio10";
			function = "i2s2_clk";
			bias-disable;
			drive-strength = <8>;
			output-high;
		};

		ws-pins {
			pins = "gpio11";
			function = "i2s2_ws";
			bias-disable;
			drive-strength = <8>;
			output-high;
		};

		data0-pins {
			pins = "gpio12";
			function = "i2s2_data";
			bias-disable;
			drive-strength = <8>;
			output-high;
		};

		data1-pins {
			pins = "gpio13";
			function = "i2s2_data";
			bias-disable;
			drive-strength = <8>;
			output-high;
		};
	};

	lpi_qua_mi2s_active: lpi-qua-mi2s-active-state {
		sck-pins {
			pins = "gpio0";
			function = "qua_mi2s_sclk";
			bias-disable;
			drive-strength = <8>;
			output-high;
		};

		ws-pins {
			pins = "gpio1";
			function = "qua_mi2s_ws";
			bias-disable;
			drive-strength = <8>;
			output-high;
		};

		data0-pins {
			pins = "gpio2";
			function = "qua_mi2s_data";
			bias-disable;
			drive-strength = <8>;
			output-high;
		};

		data1-pins {
			pins = "gpio3";
			function = "qua_mi2s_data";
			bias-pull-down;
			drive-strength = <2>;
			input-enable;
		};
	};

	lpi_ext_mclk0_b_active: lpi-ext_mclk0_b-active-state {
		mclk-pins {
			pins = "gpio5";
			function = "ext_mclk0_b";
			bias-disable;
			drive-strength = <4>;
			output-high;
		};
	};

	lpi_dmic23_active: lpi-dmic23-active-state {
		clk-pins {
			pins = "gpio8";
			function = "dmic23_clk";
			bias-disable;
			drive-strength = <8>;
			output-high;
		};

		data-pins {
			pins = "gpio9";
			function = "dmic23_data";
			bias-pull-down;
			drive-strength = <8>;
			input-enable;
		};
	};
};

&spi2 {
	status = "okay";
};

&tlmm {
	mdp_vsync_active: mdp-vsync-active-state {
		pins = "gpio81";
		function = "mdp_vsync";
		drive-strength = <2>;
		bias-pull-down;
	};

	mdp_vsync_suspend: mdp-vsync-suspend-state {
		pins = "gpio81";
		function = "mdp_vsync";
		drive-strength = <2>;
		bias-pull-down;
	};

	mdss_dsi_active: dsi-active-state {
		pins = "gpio82";
		function = "gpio";
		drive-strength = <8>;
		bias-disable;
	};

	mdss_dsi_suspend: dsi-suspend-state {
		pins = "gpio82";
		function = "gpio";
		drive-strength = <2>;
		bias-pull-down;
	};

	qup_uart0_active: qup-uart0-active-state {
		pins = "gpio2", "gpio3";
		function = "qup0";
		drive-strength = <6>;
		bias-pull-up;
	};

	qup_uart0_sleep: qup-uart0-sleep-state {
		pins = "gpio2", "gpio3";
		function = "qup0";
		drive-strength = <2>;
		bias-disable;
	};

	mcu_joy_default: mcu-joy-default-state {
		ctrl_pins {
			pins = "gpio22", "gpio25", "gpio26", "gpio27", "gpio28";
			function = "gpio";
			drive-strength = <2>;
			bias-disable;
		};

		btn_pins {
			pins = "gpio18", "gpio24", "gpio34", "gpio36";
			function = "gpio";
			drive-strength = <2>;
			bias-pull-up;
		};
	};

	uart3_default: uart3-default-state {
		cts-pins {
			pins = "gpio8";
			function = "qup3";
			drive-strength = <2>;
			bias-bus-hold;
		};

		rts-pins {
			pins = "gpio9";
			function = "qup3";
			drive-strength = <2>;
			bias-disable;
		};

		tx-pins {
			pins = "gpio10";
			function = "qup3";
			drive-strength = <2>;
			bias-disable;
		};

		rx-pins {
			pins = "gpio11";
			function = "qup3";
			drive-strength = <2>;
			bias-pull-up;
		};
	};

	uart3_sleep: uart3-sleep-state {
		cts-pins {
			pins = "gpio8";
			function = "gpio";
			drive-strength = <2>;
			bias-bus-hold;
		};

		rts-pins {
			pins = "gpio9";
			function = "gpio";
			drive-strength = <2>;
			bias-pull-down;
		};

		tx-pins {
			pins = "gpio10";
			function = "gpio";
			drive-strength = <2>;
			bias-pull-up;
		};

		rx-pins {
			pins = "gpio11";
			function = "gpio";
			drive-strength = <2>;
			bias-pull-up;
		};
	};

	sw_ctrl_default: sw-ctrl-default-state {
		pins = "gpio87";
		function = "gpio";
		bias-pull-down;
	};

	gpio_clk_pins: gpio-clk-pins {
		pins = "gpio86";
		function = "gcc_gp1";
		drive-strength = <8>;
		bias-disable;
	};

	vibra_vcc_default: vibra-vcc-default {
		function = "gpio";
		pins = "gpio96";
		drive-strength = <8>;
		output-high;
		bias-pull-up;
	};

	led_en_default: led-en-default {
		function = "gpio";
		pins = "gpio23";
		drive-strength = <8>;
		bias-pull-up;
		output-high;
	};

	rgbr_activate: rgbr-activate {
		function = "gpio";
		pins = "gpio37";
		drive-strength = <8>;
		bias-pull-up;
	};

	rgbr_suspend: rgbr-suspend {
		function = "gpio";
		pins = "gpio37";
		drive-strength = <2>;
		bias-disable;
	};

	rgbl_activate: rgbl-activate {
		function = "gpio";
		pins = "gpio21";
		drive-strength = <8>;
		bias-pull-up;
	};

	rgbl_suspend: rgbl-suspend {
		function = "gpio";
		pins = "gpio21";
		drive-strength = <2>;
		bias-disable;
	};

	es8326_irq_default: es8326-irq-default-state {
		pins = "gpio65";
		function = "gpio";
		drive-strength = <2>;
		bias-pull-up;
		input-enable;
	};

	es8326_vdd_default: es8326-vdd-default-state {
		pins = "gpio66";
		function = "gpio";
		drive-strength = <2>;
		bias-disable;
	};

	aw88261_left_irq_default: aw88261-left-irq-default-state {
		pins = "gpio106";
		function = "gpio";
		drive-strength = <2>;
		bias-pull-up;
		input-enable;
	};

	aw88261_right_irq_default: aw88261-right-irq-default-state {
		pins = "gpio107";
		function = "gpio";
		drive-strength = <2>;
		bias-pull-up;
		input-enable;
	};

	ts_irq_default: ts-irq-default-state {
		pins = "gpio69";
		function = "gpio";
		drive-strength = <2>;
		bias-disable;
	};

	ts_reset_default: ts-reset-default-state {
		pins = "gpio68";
		function = "gpio";
		drive-strength = <2>;
		bias-disable;
		output-low;
	};

	tcpc_irq_default: tcpc-irq-default-state {
		pins = "gpio39";
		function = "gpio";
		drive-strength = <2>;
		bias-pull-up;
		input-enable;
	};

	chg_int_default: chg-int-default-state {
		pins = "gpio70";
		function = "gpio";
		drive-strength = <2>;
		bias-pull-up;
		input-enable;
	};

	chg_en_default: chg-en-default-state {
		pins = "gpio85";
		function = "gpio";
		drive-strength = <2>;
		bias-pull-down;
		output-low;
	};
};

&usb {
	status = "okay";
	assigned-clock-rates = <19200000>, <133333333>;
};

&usb_dwc3 {
	dr_mode = "otg";
	maximum-speed = "super-speed";

	ports {
		port@0 {
			usb_dwc3_hs: endpoint {
				remote-endpoint = <&usb_con_hs>;
			};
		};
	};
};

&usb_hsphy {
	vdd-supply = <&vreg_l4a_0p9>;
	vdda-pll-supply = <&vreg_l12a_1p8>;
	vdda-phy-dpdm-supply = <&vreg_l15a_3p128>;

	status = "okay";
};

&usb_qmpphy {
	vdda-phy-supply = <&vreg_l4a_0p9>;
	vdda-pll-supply = <&vreg_l12a_1p8>;

	status = "okay";

	ports {
		port@0 {
			usb_qmpphy_out: endpoint {
				remote-endpoint = <&usb_con_ss>;
			};
		};
	};
};

&wifi {
	/* SoC */
	vdd-0.8-cx-mx-supply = <&vreg_l8a_0p664>;

	/* WiFi / BT PMU */
	vdd-1.8-xo-supply = <&vreg_pmu_xo>;
	vdd-1.3-rfa-supply = <&vreg_pmu_rf>;
	vdd-3.3-ch0-supply = <&vreg_pmu_ch0>;

	status = "okay";
};

&uart0 {
	gamepad {
		compatible = "rocknix,mangmi-air-x-joypad";
		pinctrl-names = "default";
		pinctrl-0 = <&mcu_joy_default>;
		mcu-power-gpios = <&tlmm 25 GPIO_ACTIVE_HIGH>;
		mcu-reset-gpios = <&tlmm 26 GPIO_ACTIVE_HIGH>;
		mcu-boot0-gpios = <&tlmm 27 GPIO_ACTIVE_HIGH>;
		mcu-boot1-gpios = <&tlmm 28 GPIO_ACTIVE_HIGH>;
		stick-en-gpios  = <&tlmm 22 GPIO_ACTIVE_HIGH>;

		mcu-start-gpios  = <&tlmm 18 GPIO_ACTIVE_LOW>;
		mcu-select-gpios = <&tlmm 24 GPIO_ACTIVE_LOW>;
		mcu-mode-gpios   = <&tlmm 36 GPIO_ACTIVE_LOW>;
		mcu-back-gpios   = <&tlmm 34 GPIO_ACTIVE_LOW>;
	};
};

&uart3 {
	interrupts-extended = <&intc GIC_SPI 330 IRQ_TYPE_LEVEL_HIGH>,
			      <&tlmm 11 IRQ_TYPE_EDGE_FALLING>;
	pinctrl-0 = <&uart3_default>;
	pinctrl-1 = <&uart3_sleep>;
	pinctrl-names = "default", "sleep";
	status = "okay";

	bluetooth {
		compatible = "qcom,wcn3950-bt";

		vddio-supply = <&vreg_pmu_io>;
		vddxo-supply = <&vreg_pmu_xo>;
		vddrf-supply = <&vreg_pmu_rf>;
		vddch0-supply = <&vreg_pmu_ch0>;
		max-speed = <3200000>;
	};
};

&uart4 {
	status = "okay";
};

&xo_board {
	clock-frequency = <19200000>;
};

&gpu_thermal {
	cooling-maps {
		map0 {
			trip = <&gpu_alert0>;
			cooling-device =
				<&fan THERMAL_NO_LIMIT THERMAL_NO_LIMIT>,
				<&gpu THERMAL_NO_LIMIT THERMAL_NO_LIMIT>;
		};
		map1 {
			trip = <&gpu_fan>;
			cooling-device = <&fan THERMAL_NO_LIMIT THERMAL_NO_LIMIT>;
		};
	};

	trips { gpu_fan: gpu-fan { temperature = <65000>; hysteresis = <5000>; type = "active"; }; };
};

&cpu0123_thermal {
	cooling-maps {
		map0 {
			trip = <&cpu0123_alert0>;
			cooling-device = <&fan THERMAL_NO_LIMIT THERMAL_NO_LIMIT>;
		};
		map1 {
			trip = <&cpu0123_alert1>;
			cooling-device = <&fan THERMAL_NO_LIMIT THERMAL_NO_LIMIT>;
		};
		map2 {
			trip = <&cpu0123_fan>;
			cooling-device = <&fan THERMAL_NO_LIMIT THERMAL_NO_LIMIT>;
		};
	};

	trips { cpu0123_fan: cpu0123-fan { temperature = <65000>; hysteresis = <5000>; type = "active"; }; };
};

&cpu45_thermal {
	cooling-maps {
		map0 {
			trip = <&cpu45_alert0>;
			cooling-device = <&fan THERMAL_NO_LIMIT THERMAL_NO_LIMIT>;
		};
		map1 {
			trip = <&cpu45_alert1>;
			cooling-device = <&fan THERMAL_NO_LIMIT THERMAL_NO_LIMIT>;
		};
		map2 {
			trip = <&cpu45_fan>;
			cooling-device = <&fan THERMAL_NO_LIMIT THERMAL_NO_LIMIT>;
		};
	};

	trips { cpu45_fan: cpu45-fan { temperature = <65000>; hysteresis = <5000>; type = "active"; }; };
};

&cpu67_thermal {
	cooling-maps {
		map0 {
			trip = <&cpu67_alert0>;
			cooling-device = <&fan THERMAL_NO_LIMIT THERMAL_NO_LIMIT>;
		};
		map1 {
			trip = <&cpu67_alert1>;
			cooling-device = <&fan THERMAL_NO_LIMIT THERMAL_NO_LIMIT>;
		};
		map2 {
			trip = <&cpu67_fan>;
			cooling-device = <&fan THERMAL_NO_LIMIT THERMAL_NO_LIMIT>;
		};
	};

	trips { cpu67_fan: cpu67-fan { temperature = <65000>; hysteresis = <5000>; type = "active"; }; };
};

/ {
	cpu0_opp_table: opp-table-cpu0 {
		compatible = "operating-points-v2";
		opp-shared;

		opp-300000000  { opp-hz = /bits/ 64 < 300000000>; opp-peak-kBps = <  800000>; };
		opp-614400000  { opp-hz = /bits/ 64 < 614400000>; opp-peak-kBps = < 2188000>; };
		opp-864000000  { opp-hz = /bits/ 64 < 864000000>; opp-peak-kBps = < 3072000>; };
		opp-1017600000 { opp-hz = /bits/ 64 <1017600000>; opp-peak-kBps = < 3072000>; };
		opp-1305600000 { opp-hz = /bits/ 64 <1305600000>; opp-peak-kBps = < 3072000>; };
		opp-1420800000 { opp-hz = /bits/ 64 <1420800000>; opp-peak-kBps = < 4068000>; };
		opp-1612800000 { opp-hz = /bits/ 64 <1612800000>; opp-peak-kBps = < 4068000>; };
		opp-1804800000 { opp-hz = /bits/ 64 <1804800000>; opp-peak-kBps = < 4068000>; };
		opp-2016000000 { opp-hz = /bits/ 64 <2016000000>; opp-peak-kBps = < 6220000>; };
	};

	cpu4_opp_table: opp-table-cpu4 {
		compatible = "operating-points-v2";
		opp-shared;

		opp-300000000  { opp-hz = /bits/ 64 < 300000000>; opp-peak-kBps = <  800000>; };
		opp-652800000  { opp-hz = /bits/ 64 < 652800000>; opp-peak-kBps = < 2188000>; };
		opp-902400000  { opp-hz = /bits/ 64 < 902400000>; opp-peak-kBps = < 2188000>; };
		opp-1056000000 { opp-hz = /bits/ 64 <1056000000>; opp-peak-kBps = < 4068000>; };
		opp-1401600000 { opp-hz = /bits/ 64 <1401600000>; opp-peak-kBps = < 4068000>; };
		opp-1536000000 { opp-hz = /bits/ 64 <1536000000>; opp-peak-kBps = < 6220000>; };
		opp-1612800000 { opp-hz = /bits/ 64 <1612800000>; opp-peak-kBps = < 6220000>; };
		opp-1804800000 { opp-hz = /bits/ 64 <1804800000>; opp-peak-kBps = < 6220000>; };
		opp-2016000000 { opp-hz = /bits/ 64 <2016000000>; opp-peak-kBps = < 7216000>; };
		opp-2112000000 { opp-hz = /bits/ 64 <2112000000>; opp-peak-kBps = < 8368000>; };
	};

	thermal-zones {
		battery-thermal {
			polling-delay-passive = <5000>;
			polling-delay = <10000>;
			thermal-sensors = <&fuel_gauge>;
			linux,governor = "bang_bang";

			trips {
				battery_fan_on: battery-fan-on {
					temperature = <40000>;
					hysteresis = <5000>;
					type = "active";
				};
			};

			cooling-maps {
				map0 {
					trip = <&battery_fan_on>;
					cooling-device = <&fan THERMAL_NO_LIMIT THERMAL_NO_LIMIT>;
				};
			};
		};
	};
};

&cpu0 {
	#cooling-cells = <2>;
	operating-points-v2 = <&cpu0_opp_table>;
	interconnects = <&bimc MASTER_AMPSS_M0 RPM_ACTIVE_TAG
			 &bimc SLAVE_EBI_CH0 RPM_ACTIVE_TAG>;
};
&cpu1 {
	#cooling-cells = <2>;
	operating-points-v2 = <&cpu0_opp_table>;
	interconnects = <&bimc MASTER_AMPSS_M0 RPM_ACTIVE_TAG
			 &bimc SLAVE_EBI_CH0 RPM_ACTIVE_TAG>;
};
&cpu2 {
	#cooling-cells = <2>;
	operating-points-v2 = <&cpu0_opp_table>;
	interconnects = <&bimc MASTER_AMPSS_M0 RPM_ACTIVE_TAG
			 &bimc SLAVE_EBI_CH0 RPM_ACTIVE_TAG>;
};
&cpu3 {
	#cooling-cells = <2>;
	operating-points-v2 = <&cpu0_opp_table>;
	interconnects = <&bimc MASTER_AMPSS_M0 RPM_ACTIVE_TAG
			 &bimc SLAVE_EBI_CH0 RPM_ACTIVE_TAG>;
};
&cpu4 {
	#cooling-cells = <2>;
	operating-points-v2 = <&cpu4_opp_table>;
	interconnects = <&bimc MASTER_AMPSS_M0 RPM_ACTIVE_TAG
			 &bimc SLAVE_EBI_CH0 RPM_ACTIVE_TAG>;
};
&cpu5 {
	#cooling-cells = <2>;
	operating-points-v2 = <&cpu4_opp_table>;
	interconnects = <&bimc MASTER_AMPSS_M0 RPM_ACTIVE_TAG
			 &bimc SLAVE_EBI_CH0 RPM_ACTIVE_TAG>;
};
&cpu6 {
	#cooling-cells = <2>;
	operating-points-v2 = <&cpu4_opp_table>;
	interconnects = <&bimc MASTER_AMPSS_M0 RPM_ACTIVE_TAG
			 &bimc SLAVE_EBI_CH0 RPM_ACTIVE_TAG>;
};
&cpu7 {
	#cooling-cells = <2>;
	operating-points-v2 = <&cpu4_opp_table>;
	interconnects = <&bimc MASTER_AMPSS_M0 RPM_ACTIVE_TAG
			 &bimc SLAVE_EBI_CH0 RPM_ACTIVE_TAG>;
};
